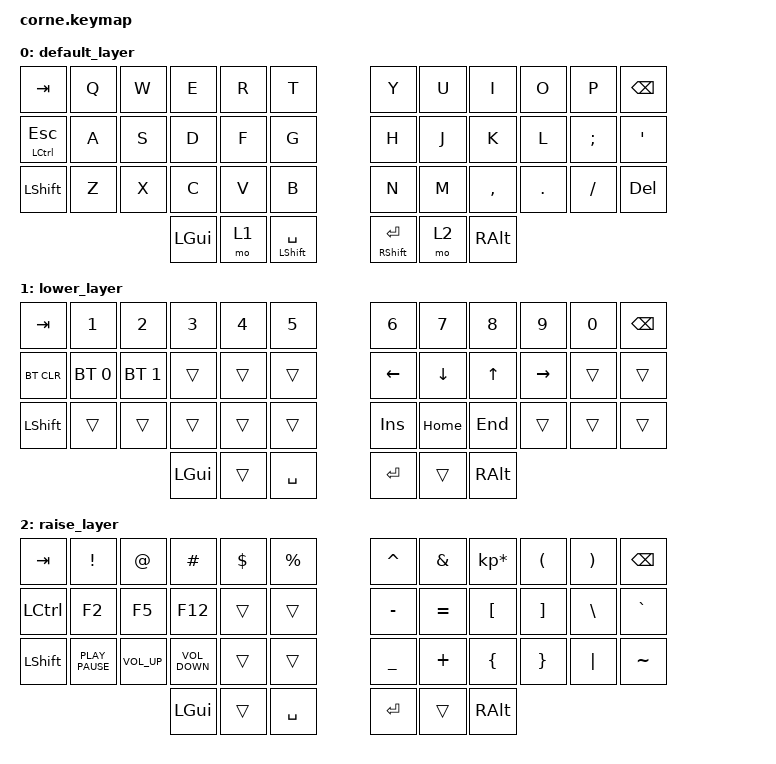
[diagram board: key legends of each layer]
/*
 * Copyright (c) 2020 The ZMK Contributors
 *
 * SPDX-License-Identifier: MIT
 */

#include <behaviors.dtsi>
#include <dt-bindings/zmk/bt.h>
#include <dt-bindings/zmk/keys.h>

/ {
    behaviors {
        new_behavior: new_behavior {
            compatible = "zmk,behavior-hold-tap";
            label = "NEW_BEHAVIOR";
            bindings = <&kp>, <&kp>;

            #binding-cells = <2>;
            flavor = "balanced";
            tapping-term-ms = <180>;
        };
    };

    keymap {
        compatible = "zmk,keymap";

        default_layer {
            // -----------------------------------------------------------------------------------------
            // |  TAB |  Q  |  W  |  E  |  R  |  T  |   |  Y  |  U   |  I  |  O  |  P  | BKSP |
            // | CTRL |  A  |  S  |  D  |  F  |  G  |   |  H  |  J   |  K  |  L  |  ;  |  '   |
            // | SHFT |  Z  |  X  |  C  |  V  |  B  |   |  N  |  M   |  ,  |  .  |  /  | ESC  |
            //                    | GUI | LWR | SPC |   | ENT | RSE  | ALT |

            bindings = <
&kp TAB               &kp Q  &kp W  &kp E     &kp R  &kp T                             &kp Y                            &kp U  &kp I      &kp O    &kp P     &kp BSPC
&mt LEFT_CONTROL ESC  &kp A  &kp S  &kp D     &kp F  &kp G                             &kp H                            &kp J  &kp K      &kp L    &kp SEMI  &kp SQT
&kp LSHFT             &kp Z  &kp X  &kp C     &kp V  &kp B                             &kp N                            &kp M  &kp COMMA  &kp DOT  &kp FSLH  &kp DELETE
                                    &kp LGUI  &mo 1  &new_behavior LEFT_SHIFT SPACE    &new_behavior RIGHT_SHIFT ENTER  &mo 2  &kp RALT
            >;
        };

        lower_layer {
            // -----------------------------------------------------------------------------------------
            // |  TAB |  1  |  2  |  3  |  4  |  5  |   |  6  |  7  |  8  |  9  |  0  | BKSP |
            // | BTCLR| BT1 | BT2 | BT3 | BT4 | BT5 |   | LFT | DWN |  UP | RGT |     |      |
            // | SHFT |     |     |     |     |     |   |     |     |     |     |     |      |
            //                    | GUI |     | SPC |   | ENT |     | ALT |

            bindings = <
&kp TAB     &kp N1        &kp N2        &kp N3    &kp N4  &kp N5       &kp N6      &kp N7    &kp N8    &kp N9     &kp N0  &kp BSPC
&bt BT_CLR  &bt BT_SEL 0  &bt BT_SEL 1  &trans    &trans  &trans       &kp LEFT    &kp DOWN  &kp UP    &kp RIGHT  &trans  &trans
&kp LSHFT   &trans        &trans        &trans    &trans  &trans       &kp INSERT  &kp HOME  &kp END   &trans     &trans  &trans
                                        &kp LGUI  &trans  &kp SPACE    &kp RET     &trans    &kp RALT
            >;
        };

        raise_layer {
            // -----------------------------------------------------------------------------------------
            // |  TAB |  !  |  @  |  #  |  $  |  %  |   |  ^  |  &  |  *  |  (  |  )  | BKSP |
            // | CTRL |     |     |     |     |     |   |  -  |  =  |  [  |  ]  |  \  |  `   |
            // | SHFT |     |     |     |     |     |   |  _  |  +  |  {  |  }  | "|" |  ~   |
            //                    | GUI |     | SPC |   | ENT |     | ALT |

            bindings = <
&kp TAB    &kp EXCL          &kp AT           &kp HASH           &kp DLLR  &kp PRCNT    &kp CARET  &kp AMPS   &kp KP_MULTIPLY  &kp LPAR  &kp RPAR  &kp BSPC
&kp LCTRL  &kp F2            &kp F5           &kp F12            &trans    &trans       &kp MINUS  &kp EQUAL  &kp LBKT         &kp RBKT  &kp BSLH  &kp GRAVE
&kp LSHFT  &kp K_PLAY_PAUSE  &kp K_VOLUME_UP  &kp K_VOLUME_DOWN  &trans    &trans       &kp UNDER  &kp PLUS   &kp LBRC         &kp RBRC  &kp PIPE  &kp TILDE
                                              &kp LGUI           &trans    &kp SPACE    &kp RET    &trans     &kp RALT
            >;
        };
    };
};
